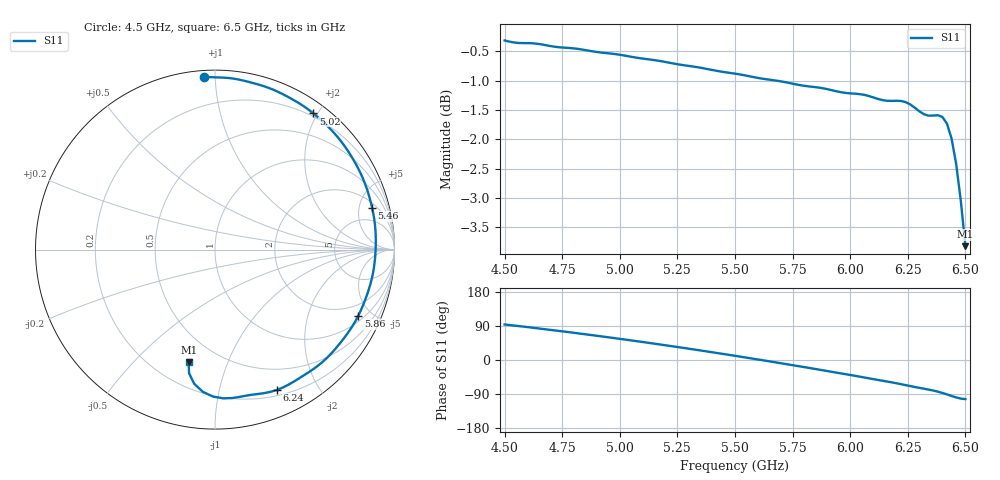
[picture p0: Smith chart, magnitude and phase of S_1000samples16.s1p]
! TOUCHSTONE file generated by CST MICROWAVE STUDIO
! Date and time: Wed Oct 26 17:04:24 2022
! Project name: L.cst
! Parameters = {Di=1.27; Epsilon_r=1.56; InnerDiameter=1.27; Length=2; Lf=10; Lg=60; OuterConductorThickness=0.2921; OuterDiameter=3.6; Wf=3; Wp=41.2; de=1.5; df=6.8; g=0.8; gx=3.05657; gy=3.96938; h=2.34; hf=1.524; px=8.34217; py=14.0557; w=9.7; wx=5.2856; wy=10.0864}
! Header version: 2018
! Port assignment regex: !\s*Touchstone port\s*([0-9]+)\s*=\s*(CST MWS port|CST DS port)\s*([0-9]+|Zmin|Zmax)\s*\(\"(.*)\"\)(\s*mode\s*([0-9]+))?.*
! Touchstone port assignment:
! Touchstone port 1 = CST MWS port 1 ("")
# GHz S DB R 50
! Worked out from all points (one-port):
!   101 points, 4.5 GHz to 6.5 GHz, reference 50 ohm
!   lowest |S11| = -3.8 dB at 6.5 GHz (marker M1), VSWR 4.62, Z = 17.1 - j36.7 ohm
!   |S11| at or under -10 dB: nowhere
!   S11 on the Smith chart (normalised r, x): 4.5 GHz: 0.03, +0.94; 5.02 GHz: 0.16, +1.95; 5.46 GHz: 2.57, +6.68; 5.86 GHz: 1.28, -4.16; 6.24 GHz: 0.26, -1.50; 6.5 GHz: 0.34, -0.73
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4.5  -0.32 93.7
4.64  -0.37 83.8
4.76  -0.44 74.9
4.88  -0.50 65.5
5  -0.56 55.8
5.02  -0.57 54.1
5.14  -0.65 44.0
5.26  -0.73 33.4
5.36  -0.79 24.2
5.46  -0.86 14.9
5.5  -0.88 11.1
5.56  -0.92 5.2
5.64  -0.98 -2.6
5.7  -1.01 -8.6
5.76  -1.06 -14.7
5.86  -1.12 -24.9
6  -1.22 -39.5
6.1  -1.29 -50.4
6.18  -1.35 -59.0
6.24  -1.37 -66.2
6.26  -1.40 -68.7
6.36  -1.60 -80.6
6.4  -1.62 -86.9
6.42  -1.73 -90.8
6.44  -1.99 -94.9
6.46  -2.42 -98.8
6.48  -3.05 -101.8
6.5  -3.82 -103.2
